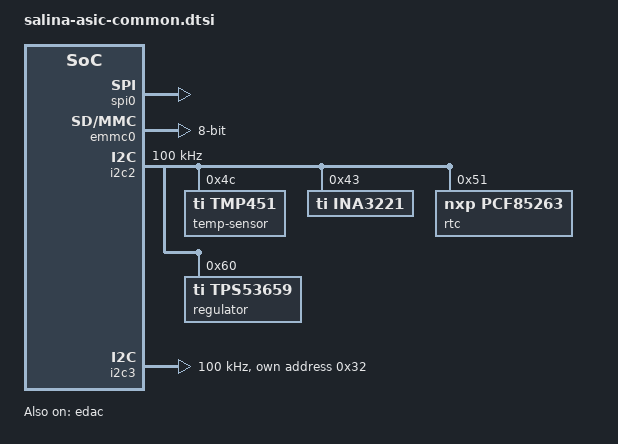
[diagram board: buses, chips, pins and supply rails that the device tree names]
// SPDX-License-Identifier: (GPL-2.0-only or BSD-2-Clause)
/*
 * Copyright 2023-2024 Advanced Micro Devices, Inc.
 */

#include <dt-bindings/i2c/i2c.h>
#include <dt-bindings/reset/amd,pensando-elba-reset.h>

&spi0 {
	status = "okay";
};

/* SPI1 (U6 flash) is owned by ARM secure firmware (TF-A); not used by Linux. */
&spi1 {
	status = "disabled";
};

&emmc_clk {
	clock-frequency = <208000000>;
};

&emmc0 {
	bus-width = <8>;
	cap-mmc-hw-reset;
	reset-names = "hw";
	resets = <&rstc EMMC_HW_RESET>;
	status = "ok";
};

&i2c1 {
	clock-frequency = <100000>;
	status = "disabled";
};

&i2c2 {
	clock-frequency = <100000>;
	status = "okay";

	temp-sensor@4c {
		compatible = "ti,tmp451";
		reg = <0x4c>;
	};

	ina3221@43 {
		compatible = "ti,ina3221";
		reg = <0x43>;
		#address-cells = <1>;
		#size-cells = <0>;

		input@0 {
			reg = <0>;
			label = "P12VDIN";
			shunt-resistor-micro-ohms = <2000>;
		};

		input@1 {
			reg = <1>;
			label = "V33";
			shunt-resistor-micro-ohms = <1000>;
		};

		input@2 {
			reg = <2>;
			label = "VDDR";
			shunt-resistor-micro-ohms = <1000>;
		};
	};

	rtc@51 {
		compatible = "nxp,pcf85263";
		reg = <0x51>;
	};

	regulator@60 {
		compatible = "ti,tps53659";
		reg = <0x60>;
	};
};

&i2c3 {
	clock-frequency = <100000>;
	multi-master;
	mctp-controller;
	status = "okay";

	mctp@32 {
		compatible = "mctp-i2c-controller";
		reg = <(0x32 | I2C_OWN_SLAVE_ADDRESS)>;
	};
};

&edac {
	status = "okay";
};
